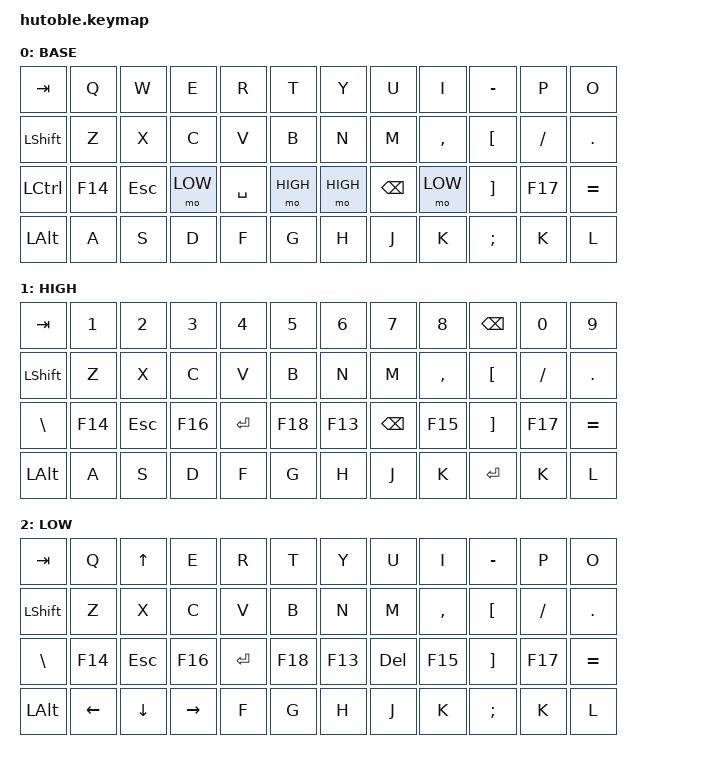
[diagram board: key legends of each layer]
#include <behaviors.dtsi>
#include <dt-bindings/zmk/keys.h>
#include <dt-bindings/zmk/bt.h>
#include <dt-bindings/zmk/outputs.h>

#define BASE 0
#define HIGH  1
#define LOW  2

&mt {
  quick-tap-ms = <100>;
  global-quick-tap;
  flavor = "tap-preferred";
  tapping-term-ms = <170>;
};

/ {
   keymap {
        compatible = "zmk,keymap";
        base_layer {
            label= "BASE";
                bindings = <
                &kp TAB     &kp Q       &kp W       &kp E       &kp R       &kp T         &kp Y       &kp U        &kp I       &kp MINUS   &kp P       &kp O
                &kp LSHIFT  &kp Z       &kp X       &kp C       &kp V       &kp B         &kp N       &kp M        &kp COMMA   &kp LBKT    &kp FSLH    &kp DOT
                &kp LCTRL   &kp F14     &kp ESC     &mo LOW     &kp SPACE   &mo HIGH      &mo HIGH    &kp BSPC     &mo LOW     &kp RBKT    &kp F17     &kp EQUAL 
                &kp LALT    &kp A       &kp S       &kp D       &kp F       &kp G         &kp H       &kp J        &kp K       &kp SEMI    &kp K       &kp L
                        >;
                  };
            high_layer {
            label= "HIGH";
                bindings = <
                &kp TAB     &kp N1      &kp N2      &kp N3      &kp N4      &kp N5        &kp N6      &kp N7       &kp N8      &kp BSPC    &kp N0       &kp N9
                &kp LSHIFT  &kp Z       &kp X       &kp C       &kp V       &kp B         &kp N       &kp M        &kp COMMA   &kp LBKT    &kp FSLH    &kp DOT
                &kp BSLH    &kp F14     &kp ESC     &kp F16     &kp ENTER   &kp F18       &kp F13     &kp BSPC     &kp F15     &kp RBKT    &kp F17     &kp EQUAL 
                &kp LALT    &kp A       &kp S       &kp D       &kp F       &kp G         &kp H       &kp J        &kp K       &kp ENTER   &kp K       &kp L
                        >;
                  };
            low_layer {
            label= "LOW";
                bindings = <
                &kp TAB     &kp Q       &kp UP      &kp E       &kp R       &kp T         &kp Y       &kp U        &kp I       &kp MINUS   &kp P       &kp O
                &kp LSHIFT  &kp Z       &kp X       &kp C       &kp V       &kp B         &kp N       &kp M        &kp COMMA   &kp LBKT    &kp FSLH    &kp DOT
                &kp BSLH    &kp F14     &kp ESC     &kp F16     &kp ENTER   &kp F18       &kp F13     &kp DELETE   &kp F15     &kp RBKT    &kp F17     &kp EQUAL 
                &kp LALT    &kp LEFT    &kp DOWN    &kp RIGHT   &kp F       &kp G         &kp H       &kp J        &kp K       &kp SEMI    &kp K       &kp L
                        >;
                  };
        };
};
//  &kp LALT    &kp Q       &kp W       &kp E       &kp R       &kp T         &kp F1      &kp F2       &kp F3       &kp F4    &kp F5      &kp F6
//    &kp LSHIFT  &kp Z       &kp X       &kp C       &kp V       &kp B         &kp F7      &kp F8       &kp F9       &kp F10   &kp F11     &kp F12
//    &kp LCTRL   &kp F14     &kp ESC     &kp F16     &kp SPACE   &kp F18       &kp F13     &kp F14      &kp F15      &kp F16   &kp F17     &kp F18 
//    &kp TAB     &kp A       &kp S       &kp D       &kp F       &kp G         &kp F19     &kp F20      &kp F21      &kp F22   &kp F23     &kp F24

//    &kp TAB     &kp Q       &kp W       &kp E       &kp R       &kp T         &kp Y       &kp U        &kp I       &kp MINUS   &kp P       &kp O
//    &kp LSHIFT  &kp Z       &kp X       &kp C       &kp V       &kp B         &kp N       &kp M        &kp COMMA   &kp LBKT    &kp FSLH    &kp DOT
//    &kp LCTRL   &kp F14     &kp ESC     &kp F16     &kp SPACE   &kp F18       &kp F13     &kp SPACE    &kp F15     &kp RBKT    &kp F17     &kp EQUAL 
//    &kp LALT    &kp A       &kp S       &kp D       &kp F       &kp G         &kp H       &kp J        &kp K       &kp SEMI    &kp K       &kp L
